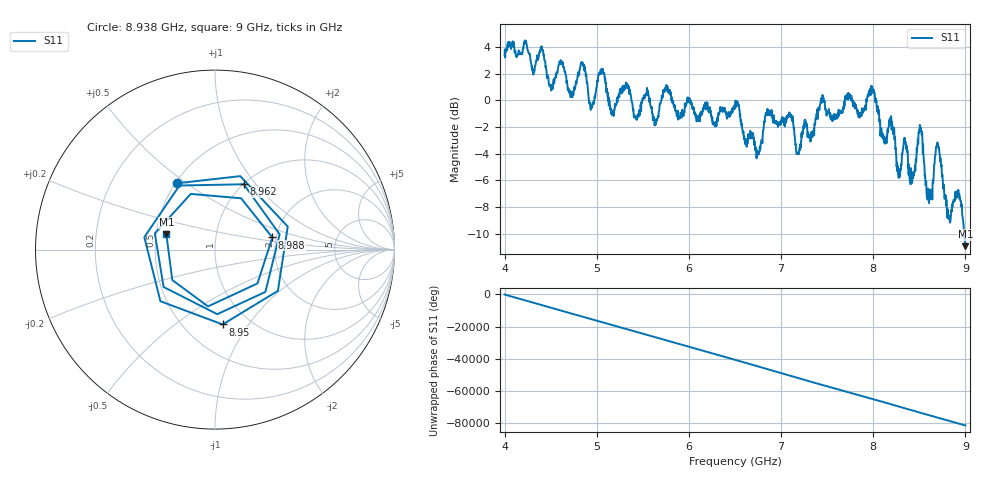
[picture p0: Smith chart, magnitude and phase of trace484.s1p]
! Created with skrf 1.8.0 (http://scikit-rf.org).
# Hz S RI R 50.0
!freq ReS11 ImS11
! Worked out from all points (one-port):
!   1601 points, 4 GHz to 9 GHz, reference 50 ohm
!   lowest |S11| = -10.9 dB at 9 GHz (marker M1), VSWR 1.79, Z = 28.3 + j5.27 ohm
!   |S11| at or under -10 dB: 8.989259 GHz to 8.993517 GHz (4.258 MHz wide, 0.0474 % of centre); 8.994289 GHz to end of sweep
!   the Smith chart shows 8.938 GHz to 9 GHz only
!   S11 on the Smith chart (normalised r, x): 8.938 GHz: 0.51, +0.46; 8.95 GHz: 0.76, -0.76; 8.962 GHz: 1.00, +0.87; 8.988 GHz: 1.91, +0.29; 9 GHz: 0.57, +0.11
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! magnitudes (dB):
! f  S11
! 4 GHz  3.4
! 4.625 GHz  2.9
! 4.725 GHz  0.6
! 4.85 GHz  2.8
! 4.941 GHz  -0.5
! 5.044 GHz  2.3
! 5.25 GHz  0.7
! 5.875 GHz  -1.2
! 6.5 GHz  -0.6
! 6.75 GHz  -4.0
! 6.856 GHz  -1.1
! 7.125 GHz  -1.6
! 7.188 GHz  -3.9
! 7.447 GHz  -0.1
! 7.75 GHz  0.4
! 7.991 GHz  0.9
! 8.275 GHz  -5.8
! 8.375 GHz  -3.9
! 8.425 GHz  -5.6
! 8.509 GHz  -2.3
! 8.603 GHz  -7.1
! 8.697 GHz  -3.1
! 8.816 GHz  -8.5
! 8.938 GHz  -7.4
! 8.95 GHz  -7.6
! 8.962 GHz  -8.0
! 8.988 GHz  -9.7
! 9 GHz  -10.9
